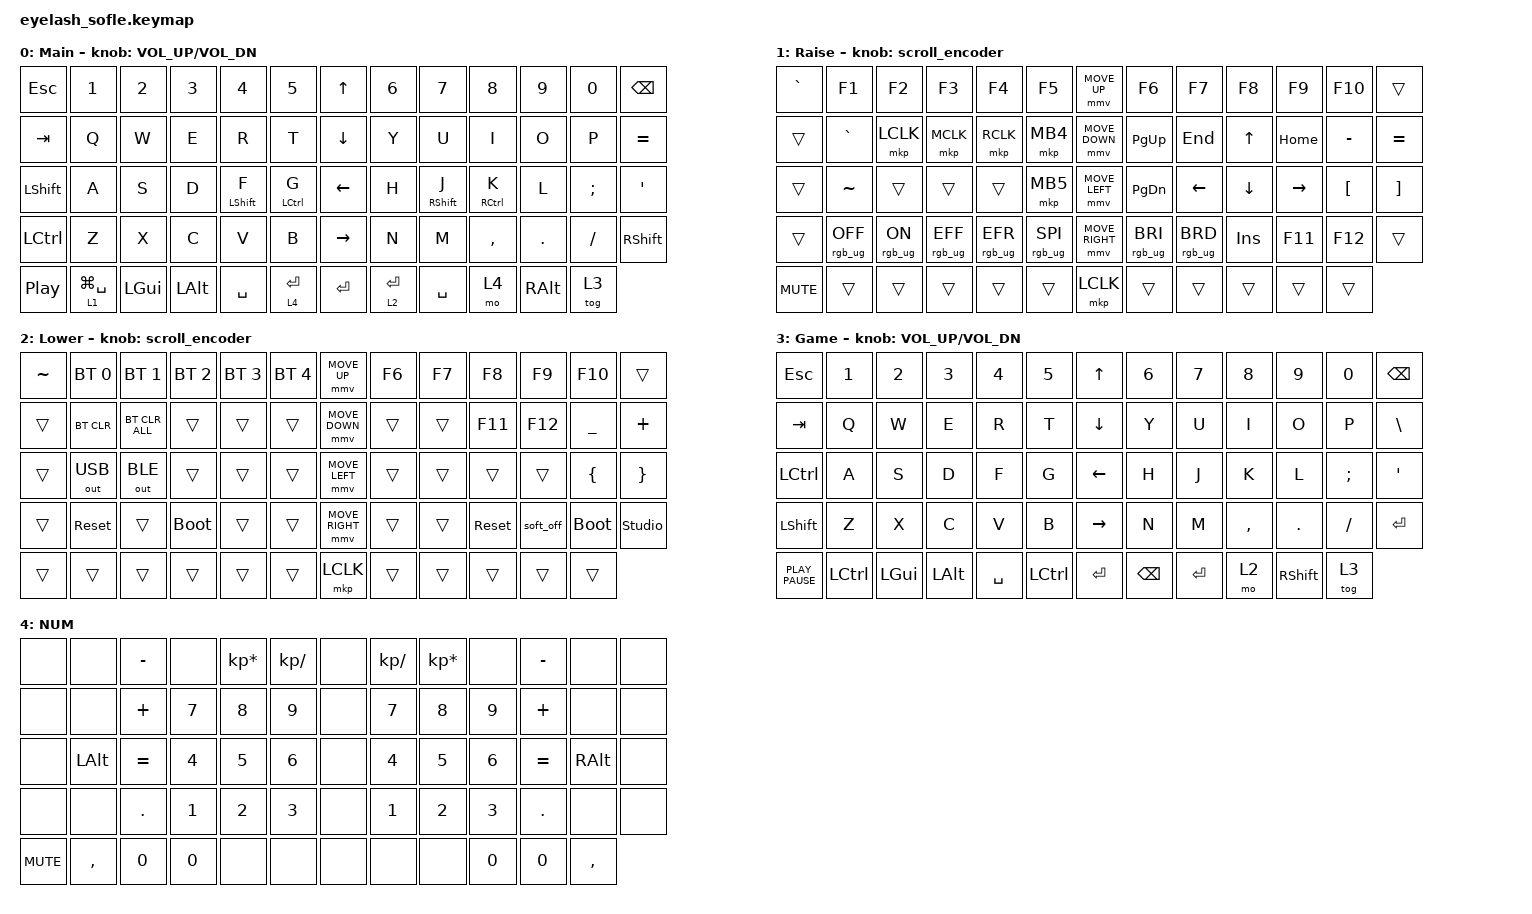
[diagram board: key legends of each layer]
#define ZMK_POINTING_DEFAULT_MOVE_VAL 1200  // 600
#define ZMK_POINTING_DEFAULT_SCRL_VAL 25   // 10

#include <input/processors.dtsi>
#include <zephyr/dt-bindings/input/input-event-codes.h>
#include <behaviors.dtsi>
#include <dt-bindings/zmk/bt.h>
#include <dt-bindings/zmk/keys.h>
#include <dt-bindings/zmk/outputs.h>
#include <dt-bindings/zmk/pointing.h>
#include <dt-bindings/zmk/rgb.h>

&mmv_input_listener { input-processors = <&zip_xy_scaler 2 1>; };

&msc_input_listener { input-processors = <&zip_scroll_scaler 2 1>; };

&msc {
    acceleration-exponent = <1>;      // 0
    time-to-max-speed-ms = <100>;       // 300
    delay-ms = <0>;                   // 0
};

&mmv {
    time-to-max-speed-ms = <500>;
    acceleration-exponent = <1>;
    trigger-period-ms = <16>;
};

&soft_off { hold-time-ms = <2000>; };

/ {
    scroll_encoder: scroll_encoder {
        compatible = "zmk,behavior-sensor-rotate";
        #sensor-binding-cells = <0>;
        bindings = <&msc SCRL_DOWN>, <&msc SCRL_UP>;

        tap-ms = <100>;
    };

    hm_behavior: hm_behavior {
        compatible = "zmk,behavior-hold-tap";
        label = "HM_BEHAVIOR";
        bindings = <&kp>, <&kp>;

        #binding-cells = <2>;
        flavor = "tap-preferred";
        tapping-term-ms = <250>;
        require-prior-idle-ms = <150>;
        quick-tap-ms = <0>;
    };

    behaviors {
    };

    combos {
        compatible = "zmk,combos";

        softoff {
            bindings = <&soft_off>;
            key-positions = <14 28 40>;
        };

        Minus {
            bindings = <&kp MINUS>;
            key-positions = <34 35>;
        };

        Backspace {
            bindings = <&kp BACKSPACE>;
            key-positions = <35 36>;
        };

        Copy {
            bindings = <&kp LC(C)>;
            key-positions = <17 18>;
            layers = <0>;
        };

        Paste {
            bindings = <&kp LC(V)>;
            key-positions = <43 44>;
            layers = <0>;
        };

        LDelete {
            bindings = <&kp DELETE>;
            key-positions = <0 1>;
        };

        Clipboard {
            bindings = <&kp LG(V)>;
            key-positions = <53 54>;
            layers = <0>;
        };

        Move_to_Next_Monitor {
            bindings = <&kp LG(LS(LEFT_ARROW))>;
            key-positions = <63 62>;
        };

        Task_Manager {
            bindings = <&kp LC(LS(ESCAPE))>;
            key-positions = <51 50>;
        };

        Delete {
            bindings = <&kp DELETE>;
            key-positions = <11 12>;
        };

        Calculator {
            bindings = <&kp C_AL_CALCULATOR>;
            key-positions = <24 25>;
        };

        f2 {
            bindings = <&kp F2>;
            key-positions = <1 2>;
        };

        f4 {
            bindings = <&kp F4>;
            key-positions = <4 3>;
        };

        f5 {
            bindings = <&kp F5>;
            key-positions = <3 5>;
        };

        f9 {
            bindings = <&kp F9>;
            key-positions = <4 5>;
        };

        Cut {
            bindings = <&kp LC(X)>;
            key-positions = <16 17>;
        };

        LCalculator {
            bindings = <&kp C_AL_CALCULATOR>;
            key-positions = <13 14>;
        };

        LBackspace {
            bindings = <&kp BACKSPACE>;
            key-positions = <29 28>;
        };
    };

    macros {
        SHIFT_MCLK: SHIFT_MCLK {
            compatible = "zmk,behavior-macro";
            #binding-cells = <0>;
            bindings =
                <&macro_press>,
                <&kp LEFT_SHIFT>,
                <&macro_press>,
                <&mkp MB3>,
                <&macro_pause_for_release>,
                <&macro_release>,
                <&kp LEFT_SHIFT &mkp MB3>;

            label = "SHIFT_MCLK";
        };
    };

    keymap {
        compatible = "zmk,keymap";

        Main {
            bindings = <
&kp ESC           &kp N1           &kp N2        &kp N3    &kp N4                     &kp N5                  &kp UP_ARROW     &kp N6       &kp N7                      &kp N8                &kp N9         &kp N0         &kp BACKSPACE
&kp TAB           &kp Q            &kp W         &kp E     &kp R                      &kp T                   &kp DOWN_ARROW   &kp Y        &kp U                       &kp I                 &kp O          &kp P          &kp EQUAL
&kp LSHFT         &kp A            &kp S         &kp D     &hm_behavior LEFT_SHIFT F  &hm_behavior LCTRL G    &kp LEFT_ARROW   &kp H        &hm_behavior RIGHT_SHIFT J  &hm_behavior RCTRL K  &kp L          &kp SEMICOLON  &kp APOS
&kp LCTRL         &kp Z            &kp X         &kp C     &kp V                      &kp B                   &kp RIGHT_ARROW  &kp N        &kp M                       &kp COMMA             &kp DOT        &kp FSLH       &kp RIGHT_SHIFT
&kp C_PLAY_PAUSE  &lt 1 LG(SPACE)  &kp LEFT_GUI  &kp LALT  &kp SPACE                  &lt 4 ENTER             &kp ENTER        &lt 2 ENTER  &kp SPACE                   &mo 4                 &kp RIGHT_ALT  &tog 3
            >;

            sensor-bindings = <&inc_dec_kp C_VOLUME_UP C_VOL_DN>;
            display-name = "Main";
        };

        Raise {
            bindings = <
&kp GRAVE   &kp F1           &kp F2          &kp F3           &kp F4           &kp F5             &mmv MOVE_UP     &kp F6           &kp F7           &kp F8      &kp F9     &kp F10           &trans
&trans      &kp GRAVE        &mkp LCLK       &mkp MCLK        &mkp RCLK        &mkp MB4           &mmv MOVE_DOWN   &kp PG_UP        &kp END          &kp UP      &kp HOME   &kp MINUS         &kp EQUAL
&trans      &kp TILDE        &trans          &trans           &trans           &mkp MB5           &mmv MOVE_LEFT   &kp PG_DN        &kp LEFT         &kp DOWN    &kp RIGHT  &kp LEFT_BRACKET  &kp RIGHT_BRACKET
&trans      &rgb_ug RGB_OFF  &rgb_ug RGB_ON  &rgb_ug RGB_EFF  &rgb_ug RGB_EFR  &rgb_ug RGB_SPI    &mmv MOVE_RIGHT  &rgb_ug RGB_BRI  &rgb_ug RGB_BRD  &kp INSERT  &kp F11    &kp F12           &trans
&kp C_MUTE  &trans           &trans          &trans           &trans           &trans             &mkp LCLK        &trans           &trans           &trans      &trans     &trans
            >;

            display-name = "Raise";
            sensor-bindings = <&scroll_encoder>;
        };

        Lower {
            bindings = <
&kp TILDE  &bt BT_SEL 0  &bt BT_SEL 1    &bt BT_SEL 2  &bt BT_SEL 3  &bt BT_SEL 4    &mmv MOVE_UP     &kp F6  &kp F7  &kp F8      &kp F9     &kp F10      &trans
&trans     &bt BT_CLR    &bt BT_CLR_ALL  &trans        &trans        &trans          &mmv MOVE_DOWN   &trans  &trans  &kp F11     &kp F12    &kp UNDER    &kp PLUS
&trans     &out OUT_USB  &out OUT_BLE    &trans        &trans        &trans          &mmv MOVE_LEFT   &trans  &trans  &trans      &trans     &kp LBRC     &kp RBRC
&trans     &sys_reset    &trans          &bootloader   &trans        &trans          &mmv MOVE_RIGHT  &trans  &trans  &sys_reset  &soft_off  &bootloader  &studio_unlock
&trans     &trans        &trans          &trans        &trans        &trans          &mkp LCLK        &trans  &trans  &trans      &trans     &trans
            >;

            sensor-bindings = <&scroll_encoder>;
            display-name = "Lower";
        };

        Gaming {
            display-name = "Game";
            bindings = <
&kp ESC           &kp N1     &kp N2        &kp N3        &kp N4     &kp N5       &kp UP_ARROW     &kp N6         &kp N7     &kp N8     &kp N9           &kp N0         &kp BACKSPACE
&kp TAB           &kp Q      &kp W         &kp E         &kp R      &kp T        &kp DOWN_ARROW   &kp Y          &kp U      &kp I      &kp O            &kp P          &kp BSLH
&kp LCTRL         &kp A      &kp S         &kp D         &kp F      &kp G        &kp LEFT_ARROW   &kp H          &kp J      &kp K      &kp L            &kp SEMICOLON  &kp APOS
&kp LSHFT         &kp Z      &kp X         &kp C         &kp V      &kp B        &kp RIGHT_ARROW  &kp N          &kp M      &kp COMMA  &kp DOT          &kp FSLH       &kp ENTER
&kp K_PLAY_PAUSE  &kp LCTRL  &kp LEFT_GUI  &kp LEFT_ALT  &kp SPACE  &kp LCTRL    &kp ENTER        &kp BACKSPACE  &kp ENTER  &mo 2      &kp RIGHT_SHIFT  &tog 3
            >;

            sensor-bindings = <&inc_dec_kp C_VOLUME_UP C_VOL_DN>;
        };

        NUM {
            bindings = <
&none       &none         &kp MINUS  &none         &kp KP_MULTIPLY  &kp KP_SLASH    &none  &kp KP_SLASH  &kp KP_MULTIPLY  &none   &kp MINUS  &none      &none
&none       &none         &kp PLUS   &kp N7        &kp N8           &kp N9          &none  &kp N7        &kp N8           &kp N9  &kp PLUS   &none      &none
&none       &kp LEFT_ALT  &kp EQUAL  &kp N4        &kp N5           &kp N6          &none  &kp N4        &kp N5           &kp N6  &kp EQUAL  &kp RALT   &none
&none       &none         &kp DOT    &kp NUMBER_1  &kp N2           &kp N3          &none  &kp N1        &kp N2           &kp N3  &kp DOT    &none      &none
&kp C_MUTE  &kp COMMA     &kp N0     &kp N0        &none            &none           &none  &none         &none            &kp N0  &kp N0     &kp COMMA
            >;

            display-name = "NUM";
        };
    };
};
